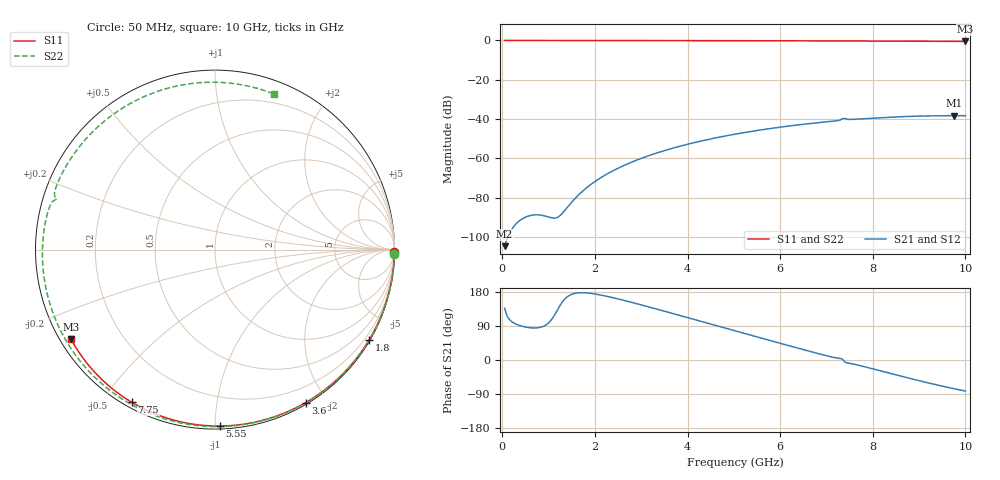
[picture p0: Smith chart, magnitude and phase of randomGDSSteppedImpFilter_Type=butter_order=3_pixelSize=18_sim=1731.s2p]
! freq	dB(S11)	phase(S11)	dB(S12)	phase(S12)
!  dB(S21)	phase(S21)	dB(S22)	phase(S22)
!S-par simulation data
#  GHz  S  DB  R 50
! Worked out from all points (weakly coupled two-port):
!   200 points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, 50 MHz to 10 GHz, reference 50 ohm
!   highest |S21| = -38.30 dB at 9.75 GHz (marker M1); lowest = -104.8 dB at 50 MHz (marker M2)
!   lowest |S11| = -0.5 dB at 10 GHz (marker M3), VSWR 34.92, Z = 1.55 - j14.3 ohm
!   |S11| at or under -10 dB: nowhere
!   |S22| runs from -0.7 to 0.0 dB; largest |S21 - S12| = 0
!   S11 on the Smith chart (normalised r, x): 50 MHz: open; 1.8 GHz: 0.03, -3.67; 3.6 GHz: 0.02, -1.75; 5.55 GHz: 0.02, -1.03; 7.75 GHz: 0.02, -0.59; 10 GHz: 0.03, -0.29
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0.05  -0.00 -0.9  -104.77 136.4  -104.77 136.4  -0.00 -1.4
0.75  -0.01 -12.9  -88.80 84.9  -88.80 84.9  -0.02 -21.5
1.55  -0.03 -26.3  -81.02 175.4  -81.02 175.4  -0.06 -43.9
1.6  -0.03 -27.2  -79.77 176.6  -79.77 176.6  -0.06 -45.3
1.75  -0.04 -29.6  -76.42 177.5  -76.42 177.5  -0.06 -49.4
1.8  -0.04 -30.5  -75.42 177.2  -75.42 177.2  -0.06 -50.8
2.1  -0.05 -35.4  -70.29 172.1  -70.29 172.1  -0.08 -59.0
2.45  -0.05 -41.1  -65.65 162.7  -65.65 162.7  -0.09 -68.4
3.4  -0.07 -56.3  -56.83 132.2  -56.83 132.2  -0.12 -93.2
3.6  -0.08 -59.4  -55.41 125.5  -55.41 125.5  -0.13 -98.4
4.3  -0.10 -70.1  -51.18 101.7  -51.18 101.7  -0.16 -116.1
5.05  -0.12 -81.2  -47.63 76.2  -47.63 76.2  -0.21 -135.1
5.55  -0.14 -88.4  -45.68 59.2  -45.68 59.2  -0.24 -147.8
6.15  -0.17 -96.8  -43.70 39.1  -43.70 39.1  -0.29 -163.6
6.7  -0.20 -104.4  -42.17 20.8  -42.17 20.8  -0.34 -178.6
7.25  -0.24 -111.9  -40.77 4.7  -40.77 4.7  -0.44 165.2
7.35  -0.25 -113.2  -39.78 1.7  -39.78 1.7  -0.65 162.4
7.75  -0.27 -118.5  -39.93 -15.5  -39.93 -15.5  -0.44 150.9
8.35  -0.32 -126.5  -39.10 -34.5  -39.10 -34.5  -0.50 131.1
9.1  -0.40 -136.3  -38.47 -57.5  -38.47 -57.5  -0.57 104.4
9.75  -0.46 -144.8  -38.30 -75.7  -38.30 -75.7  -0.63 79.3
10  -0.50 -148.1  -38.33 -81.9  -38.33 -81.9  -0.65 69.3
